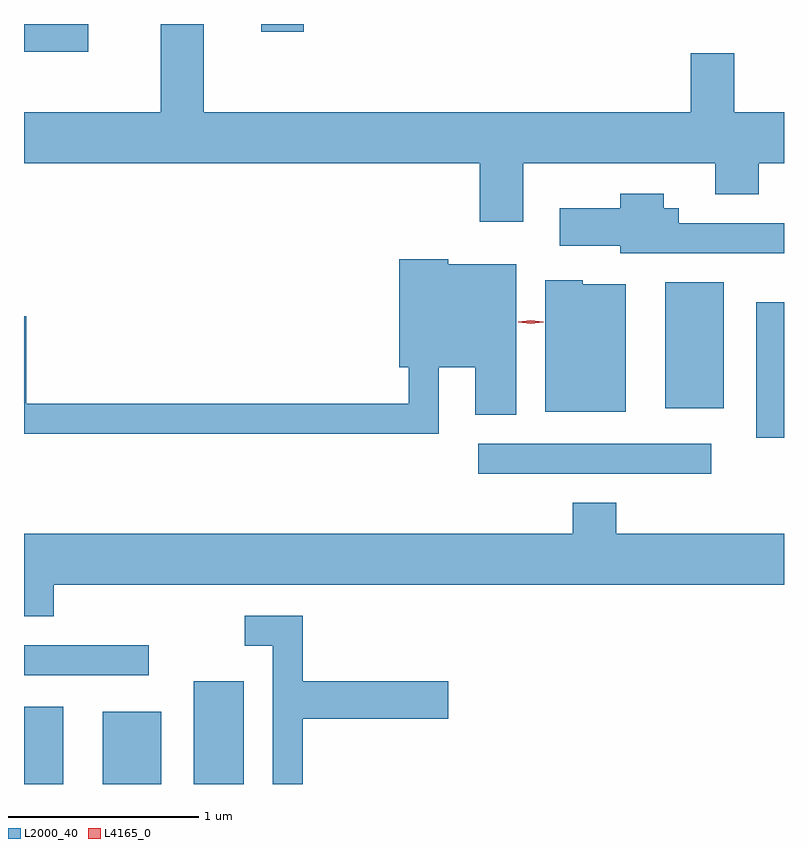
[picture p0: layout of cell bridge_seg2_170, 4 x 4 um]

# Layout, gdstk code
import gdstk
lib = gdstk.Library(unit=1e-6, precision=1e-09)
def R(c, l, rs):  # rectangles x0, y0, x1, y1
    for r in rs: c.add(gdstk.rectangle(r[:2], r[2:], *l))
def P(c, l, *ps):  # polygons
    for p in ps: c.add(gdstk.Polygon(p, *l))
L2000_40 = (2000, 40)
L4165_0 = (4165, 0)

bridge_seg2_170 = lib.new_cell('bridge_seg2_170')
R(bridge_seg2_170, L2000_40, [(849.322,1013.968,849.529,1014.374), (849.736,1013.968,850.044,1014.349), (850.216,1013.968,850.479,1014.509), (849.322,1014.541,849.978,1014.699), (851.713,1015.601,852.938,1015.759), (853.176,1015.791,853.322,1016.504), (852.696,1015.946,853.004,1016.609), (849.322,1017.821,849.659,1017.968), (850.571,1017.926,850.794,1017.968)])
P(bridge_seg2_170, L2000_40, [(851.949,1017.236),(852.961,1017.236),(852.961,1017.071),(853.189,1017.071),(853.189,1017.236),(853.322,1017.236),(853.322,1017.504),(853.059,1017.504),(853.059,1017.814),(852.831,1017.814),(852.831,1017.504),(850.269,1017.504),(850.269,1017.968),(850.041,1017.968),(850.041,1017.504),(849.322,1017.504),(849.322,1017.236),(851.721,1017.236),(851.721,1016.926),(851.949,1016.926)],
  [(853.322,1016.919),(852.769,1016.919),(852.769,1016.999),(852.689,1016.999),(852.689,1017.074),(852.461,1017.074),(852.461,1016.999),(852.141,1016.999),(852.141,1016.801),(852.461,1016.801),(852.461,1016.761),(853.322,1016.761)],
  [(851.504,1016.161),(851.696,1016.161),(851.696,1015.911),(851.914,1015.911),(851.914,1016.704),(851.554,1016.704),(851.554,1016.729),(851.296,1016.729),(851.296,1016.161),(851.346,1016.161),(851.346,1015.969),(849.334,1015.969),(849.334,1016.429),(849.322,1016.429),(849.322,1015.811),(851.504,1015.811)],
  [(852.489,1016.599),(852.264,1016.599),(852.264,1016.619),(852.066,1016.619),(852.066,1015.926),(852.489,1015.926)],
  [(849.479,1015.016),(853.322,1015.016),(853.322,1015.284),(852.439,1015.284),(852.439,1015.449),(852.211,1015.449),(852.211,1015.284),(849.322,1015.284),(849.322,1014.851),(849.479,1014.851)],
  [(850.789,1014.311),(851.554,1014.311),(851.554,1014.509),(850.789,1014.509),(850.789,1014.854),(850.483,1014.854),(850.483,1014.696),(850.631,1014.696),(850.631,1013.968),(850.789,1013.968)])
P(bridge_seg2_170, L4165_0, [(851.99,1016.39),(851.924,1016.399),(851.924,1016.4),(851.924,1016.4),(851.99,1016.409),(852.056,1016.4),(852.057,1016.399),(852.056,1016.399)])

lib.write_gds('bridge_seg2_170.gds')
